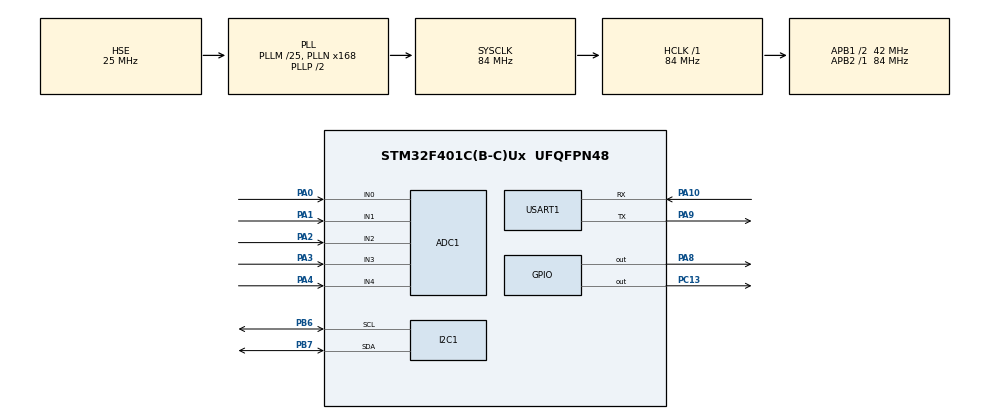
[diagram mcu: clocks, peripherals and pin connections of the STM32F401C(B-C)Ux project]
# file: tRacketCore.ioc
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ADC1.Channel-0\#ChannelRegularConversion=ADC_CHANNEL_0
ADC1.Channel-1\#ChannelRegularConversion=ADC_CHANNEL_1
ADC1.Channel-2\#ChannelRegularConversion=ADC_CHANNEL_2
ADC1.Channel-3\#ChannelRegularConversion=ADC_CHANNEL_3
ADC1.Channel-4\#ChannelRegularConversion=ADC_CHANNEL_4
ADC1.ContinuousConvMode=ENABLE
ADC1.NbrOfConversion=5
ADC1.NbrOfConversionFlag=1
ADC1.Rank-0\#ChannelRegularConversion=1
ADC1.Rank-1\#ChannelRegularConversion=2
ADC1.Rank-2\#ChannelRegularConversion=3
ADC1.Rank-3\#ChannelRegularConversion=4
ADC1.Rank-4\#ChannelRegularConversion=5
ADC1.SamplingTime-0\#ChannelRegularConversion=ADC_SAMPLETIME_3CYCLES
ADC1.SamplingTime-1\#ChannelRegularConversion=ADC_SAMPLETIME_3CYCLES
ADC1.SamplingTime-2\#ChannelRegularConversion=ADC_SAMPLETIME_3CYCLES
ADC1.SamplingTime-3\#ChannelRegularConversion=ADC_SAMPLETIME_3CYCLES
ADC1.SamplingTime-4\#ChannelRegularConversion=ADC_SAMPLETIME_3CYCLES
ADC1.ScanConvMode=ENABLE
ADC1.master=1
I2C1.I2C_Mode=I2C_Fast
Mcu.Family=STM32F4
Mcu.Name=STM32F401C(B-C)Ux
Mcu.Package=UFQFPN48
NVIC.PriorityGroup=NVIC_PRIORITYGROUP_4
PA0-WKUP.Signal=ADCx_IN0
PA1.Signal=ADCx_IN1
PA10.Mode=Asynchronous
PA10.Signal=USART1_RX
PA13.Mode=Serial_Wire
PA13.Signal=SYS_JTMS-SWDIO
PA14.Mode=Serial_Wire
PA14.Signal=SYS_JTCK-SWCLK
PA2.Signal=ADCx_IN2
PA3.Signal=ADCx_IN3
PA4.Signal=ADCx_IN4
PA8.Signal=GPIO_Output
PA9.Mode=Asynchronous
PA9.Signal=USART1_TX
PB6.GPIO_Pu=GPIO_PULLUP
PB6.Mode=I2C
PB6.Signal=I2C1_SCL
PB7.GPIO_Pu=GPIO_PULLUP
PB7.Mode=I2C
PB7.Signal=I2C1_SDA
PC13-ANTI_TAMP.Signal=GPIO_Output
PH0\ -\ OSC_IN.Mode=HSE-External-Oscillator
PH0\ -\ OSC_IN.Signal=RCC_OSC_IN
PH1\ -\ OSC_OUT.Mode=HSE-External-Oscillator
PH1\ -\ OSC_OUT.Signal=RCC_OSC_OUT
ProjectManager.HeapSize=0x200
ProjectManager.StackSize=0x400
ProjectManager.TargetToolchain=STM32CubeIDE
RCC.48MHZClocksFreq_Value=42000000
RCC.AHBFreq_Value=84000000
RCC.APB1CLKDivider=RCC_HCLK_DIV2
RCC.APB1Freq_Value=42000000
RCC.APB1TimFreq_Value=84000000
RCC.APB2Freq_Value=84000000
RCC.APB2TimFreq_Value=84000000
RCC.CortexFreq_Value=84000000
RCC.HCLKFreq_Value=84000000
RCC.HSE_VALUE=25000000
RCC.HSI_VALUE=16000000
RCC.LSE_VALUE=32768
RCC.PLLM=25
RCC.PLLN=168
RCC.PLLSourceVirtual=RCC_PLLSOURCE_HSE
RCC.SYSCLKFreq_VALUE=84000000
RCC.SYSCLKSource=RCC_SYSCLKSOURCE_PLLCLK
RCC.VCOOutputFreq_Value=168000000
SH.ADCx_IN0.0=ADC1_IN0,IN0
SH.ADCx_IN1.0=ADC1_IN1,IN1
SH.ADCx_IN2.0=ADC1_IN2,IN2
SH.ADCx_IN3.0=ADC1_IN3,IN3
SH.ADCx_IN4.0=ADC1_IN4,IN4
USART1.VirtualMode=VM_ASYNC
board=custom

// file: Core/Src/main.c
/* USER CODE BEGIN Header */
/**
  ******************************************************************************
  * @file           : main.c
  * @brief          : Main program body
  ******************************************************************************
  * @attention
  *
  * <h2><center>&copy; Copyright (c) 2020 STMicroelectronics.
  * All rights reserved.</center></h2>
  *
  * This software component is licensed by ST under BSD 3-Clause license,
  * the "License"; You may not use this file except in compliance with the
  * License. You may obtain a copy of the License at:
  *                        opensource.org/licenses/BSD-3-Clause
  *
  ******************************************************************************
  */
/* USER CODE END Header */
#include "main.h"
#include "adc.h"
#include "i2c.h"
#include "usart.h"
#include "gpio.h"

/* USER CODE BEGIN Includes */
#include "mpu6050.h"
#include "string.h"
#include <stdio.h>
#include "math.h"
/* USER CODE END Includes */

/* USER CODE BEGIN PV */
MPU6050_t MPU6050;
const float calibPiezo[5] = {0.75,0.5,1.2,1.0,1.0};
const int xHitCoords[5] = {-1,1,0,-1,1};
const int yHitCoords[5] = {1,1,0,-1,-1};
/* USER CODE END PV */

void SystemClock_Config(void);

/* USER CODE BEGIN 0 */

void ADC_Select_CH(int ch){
	ADC_ChannelConfTypeDef sConfig = {0};
	uint32_t channel;
	switch(ch){
	case 0:
		channel = ADC_CHANNEL_0;
		break;
	case 1:
		channel = ADC_CHANNEL_1;
		break;
	case 2:
		channel = ADC_CHANNEL_2;
		break;
	case 3:
		channel = ADC_CHANNEL_3;
		break;
	case 4:
		channel = ADC_CHANNEL_4;
		break;
	default:
		return;
		break;
	}
	sConfig.Channel = channel;
	sConfig.Rank = 1;
	sConfig.SamplingTime = ADC_SAMPLETIME_3CYCLES;
	if (HAL_ADC_ConfigChannel(&hadc1, &sConfig) != HAL_OK)
	{
	Error_Handler();
	}
}

uint16_t ADC_Read(int ch){
	uint16_t AD_VAL;
	ADC_Select_CH(ch);
	HAL_ADC_Start(&hadc1);
	HAL_ADC_PollForConversion(&hadc1, 1);
	AD_VAL = HAL_ADC_GetValue(&hadc1);
	HAL_ADC_Stop(&hadc1);
	return AD_VAL*calibPiezo[ch];
}
/* USER CODE END 0 */

int main(void)
{

  /* MCU Configuration--------------------------------------------------------*/

  /* Reset of all peripherals, Initializes the Flash interface and the Systick. */
  HAL_Init();

  /* Configure the system clock */
  SystemClock_Config();

  /* Initialize all configured peripherals */
  MX_GPIO_Init();
  MX_I2C1_Init();
  MX_USART1_UART_Init();
  MX_ADC1_Init();
  HAL_GPIO_WritePin(GPIOC, GPIO_PIN_13, 1);
  HAL_Delay(50);
  HAL_GPIO_WritePin(GPIOC, GPIO_PIN_13, 0);
  HAL_Delay(50);
  /* USER CODE BEGIN 2 */
  while (MPU6050_Init(&hi2c1) == 1);
  HAL_GPIO_WritePin(GPIOC, GPIO_PIN_13, 1);
  HAL_Delay(100);
  HAL_GPIO_WritePin(GPIOC, GPIO_PIN_13, 0);
  HAL_GPIO_WritePin(GPIOA, GPIO_PIN_8, 1);
  HAL_Delay(100);
  HAL_GPIO_WritePin(GPIOA, GPIO_PIN_8, 0);
  /* USER CODE END 2 */
  uint16_t piezoWindowBuf [5][250] = {0};
  uint16_t maxs [5] = {0};
  uint16_t absMax;
  float xHitLoc,yHitLoc;
  float weights[5] = {0.0};
  int triggerdIterator =0;
  /* Infinite loop */
  /* USER CODE BEGIN WHILE */
  while (1)
  {
	  uint16_t AD_RES = 0;
	  char adcval[128];
    //Constant reading of the 5 piezo discs and a rolling window in the first half of the buffer
    //The most recent reading is in the middle of the buffer
	  if(triggerdIterator == 0){
		  for(int i=0;i<5;i++){
			  for(int j = 0; j<124; j++){
				  piezoWindowBuf[i][j] = piezoWindowBuf[i][j+1];
			  }
			  piezoWindowBuf[i][124] = ADC_Read(i);
        //Detect a ball hit if any of the sensors pass the threshold
			  if(piezoWindowBuf[i][124] > 1500){
				  HAL_Delay(1);  //Wait for a millisecond and check again to ignore spikes
				  if(ADC_Read(i)> 1500){
					  triggerdIterator =125;
				  }
			  }
		  }
      //If a hit is detected, fill the rest of the window
	  }else if(triggerdIterator < 250){
		  for(int i=0;i<5;i++){
			  piezoWindowBuf[i][triggerdIterator] = ADC_Read(i);
		  }
		  triggerdIterator++;
	  }
    //When the rest of the buffer is filled, calculate and send the data
    else{
		  triggerdIterator =0;
//		  for(int i =0;i<250;i++){
//			  for(int j=0;j<5;j++){
//	  				sprintf(adcval,"%d",piezoWindowBuf[j][i]);
//	  				HAL_UART_Transmit(&huart1, (uint8_t *) adcval , strlen(adcval), HAL_MAX_DELAY);
//	  				HAL_UART_Transmit(&huart1, (uint8_t *) "\t" , 1, HAL_MAX_DELAY);
//			  }
//			  HAL_UART_Transmit(&huart1, (uint8_t *) "\r\n" , 2, HAL_MAX_DELAY);
//		  			  }

//Determines the maximum value in each buffer
		  for(int i=0;i<5;i++){
			  for(int j=0;j<250;j++){
				  if (piezoWindowBuf[i][j]>maxs[i]){
					  maxs[i] = piezoWindowBuf[i][j];
				  }
			  }

		  }
// Determine the absolute maximum of the 5 sensors
		  absMax = 0;
		  for(int k=0;k<5;k++){
			  if(maxs[k]>absMax){
				  absMax = maxs[k];
			  }
		  }
//Normalize and calculate the location
		  for(int k=0;k<5;k++){
				  weights[k] = (float) maxs[k]/absMax;
				  xHitLoc += weights[k]*xHitCoords[k];
				  yHitLoc += weights[k]*yHitCoords[k];
		  }
		  	HAL_Delay(5);
		  	MPU6050_Read_All(&hi2c1, &MPU6050);

      //send the data
			sprintf(adcval,"%f",xHitLoc);
			HAL_UART_Transmit(&huart1, (uint8_t *) adcval , strlen(adcval), HAL_MAX_DELAY);
			HAL_UART_Transmit(&huart1, (uint8_t *) "," , 1, HAL_MAX_DELAY);
			sprintf(adcval,"%f",yHitLoc);
			HAL_UART_Transmit(&huart1, (uint8_t *) adcval , strlen(adcval), HAL_MAX_DELAY);
			HAL_UART_Transmit(&huart1, (uint8_t *) "," , 1, HAL_MAX_DELAY);
			sprintf(adcval,"%f",MPU6050.KalmanAngleX);
			HAL_UART_Transmit(&huart1, (uint8_t *) adcval , strlen(adcval), HAL_MAX_DELAY);
			HAL_UART_Transmit(&huart1, (uint8_t *) "," , 1, HAL_MAX_DELAY);
			sprintf(adcval,"%f",MPU6050.KalmanAngleY);
			HAL_UART_Transmit(&huart1, (uint8_t *) adcval , strlen(adcval), HAL_MAX_DELAY);
			HAL_UART_Transmit(&huart1, (uint8_t *) "," , 1, HAL_MAX_DELAY);
			float force = fabs(sqrt(pow(MPU6050.Ax,2)+pow(MPU6050.Ay,2)+pow(MPU6050.Az,2))-1)*9.8*0.0027;
			sprintf(adcval,"%f",force);
			HAL_UART_Transmit(&huart1, (uint8_t *) adcval , strlen(adcval), HAL_MAX_DELAY);
      //Training example test
			if(force>0.015){
				  HAL_GPIO_WritePin(GPIOA, GPIO_PIN_8, 1);
				  HAL_Delay(50);
				  HAL_GPIO_WritePin(GPIOA, GPIO_PIN_8, 0);
			}
      //Reset all values
		  for(int i =0;i<5;i++){
//		  sprintf(adcval,"%f",weights[i]);
//			HAL_UART_Transmit(&huart1, (uint8_t *) adcval , strlen(adcval), HAL_MAX_DELAY);
//			HAL_UART_Transmit(&huart1, (uint8_t *) "\t" , 1, HAL_MAX_DELAY);
			maxs[i] = 0;
			weights[i] = 0;
			xHitLoc = 0;
			yHitLoc = 0;
	  }
		  HAL_UART_Transmit(&huart1, (uint8_t *) "\r\n" , 2, HAL_MAX_DELAY);

	  }
//	  HAL_UART_Transmit(&huart1, (uint8_t *) "\r\n" , 2, HAL_MAX_DELAY);
//      HAL_GPIO_TogglePin(GPIOA, GPIO_PIN_8);
//      sprintf(adcval,"%d",AD_RES);
//      HAL_UART_Transmit(&huart1, (uint8_t *) adcval , strlen(adcval), HAL_MAX_DELAY);
//      HAL_UART_Transmit(&huart1, (uint8_t *) "\r\n" , 2, HAL_MAX_DELAY);
//	  char angleStr[128];
//	  sprintf(angleStr,"%f",MPU6050.Ax*9.80665);
//	  HAL_UART_Transmit(&huart1, (uint8_t *) angleStr , strlen(angleStr), HAL_MAX_DELAY);
//	  HAL_UART_Transmit(&huart1, (uint8_t *) "\t" , 1, HAL_MAX_DELAY);
//	  sprintf(angleStr,"%f",MPU6050.Ay*9.80665);
//	  HAL_UART_Transmit(&huart1, (uint8_t *) angleStr , strlen(angleStr), HAL_MAX_DELAY);
//	  HAL_UART_Transmit(&huart1, (uint8_t *) "\t" , 1, HAL_MAX_DELAY);
//	  sprintf(angleStr,"%f",MPU6050.Az*9.80665);
//	  HAL_UART_Transmit(&huart1, (uint8_t *) angleStr , strlen(angleStr), HAL_MAX_DELAY);
//	  HAL_UART_Transmit(&huart1, (uint8_t *) "\r\n" , 2, HAL_MAX_DELAY);
//	  if(MPU6050.KalmanAngleX > 30){
//		  HAL_GPIO_WritePin(GPIOC, GPIO_PIN_13, 1);
//	  }else{
//		  HAL_GPIO_WritePin(GPIOC, GPIO_PIN_13, 0);
//	  }
//	  HAL_Delay (20);
    /* USER CODE END WHILE */

  }
}

void SystemClock_Config(void)
{
  RCC_OscInitTypeDef RCC_OscInitStruct = {0};
  RCC_ClkInitTypeDef RCC_ClkInitStruct = {0};

  /** Configure the main internal regulator output voltage
  */
  __HAL_RCC_PWR_CLK_ENABLE();
  __HAL_PWR_VOLTAGESCALING_CONFIG(PWR_REGULATOR_VOLTAGE_SCALE2);

  /** Initializes the RCC Oscillators according to the specified parameters
  * in the RCC_OscInitTypeDef structure.
  */
  RCC_OscInitStruct.OscillatorType = RCC_OSCILLATORTYPE_HSE;
  RCC_OscInitStruct.HSEState = RCC_HSE_ON;
  RCC_OscInitStruct.PLL.PLLState = RCC_PLL_ON;
  RCC_OscInitStruct.PLL.PLLSource = RCC_PLLSOURCE_HSE;
  RCC_OscInitStruct.PLL.PLLM = 25;
  RCC_OscInitStruct.PLL.PLLN = 168;
  RCC_OscInitStruct.PLL.PLLP = RCC_PLLP_DIV2;
  RCC_OscInitStruct.PLL.PLLQ = 4;
  if (HAL_RCC_OscConfig(&RCC_OscInitStruct) != HAL_OK)
  {
    Error_Handler();
  }

  /** Initializes the CPU, AHB and APB buses clocks
  */
  RCC_ClkInitStruct.ClockType = RCC_CLOCKTYPE_HCLK|RCC_CLOCKTYPE_SYSCLK
                              |RCC_CLOCKTYPE_PCLK1|RCC_CLOCKTYPE_PCLK2;
  RCC_ClkInitStruct.SYSCLKSource = RCC_SYSCLKSOURCE_PLLCLK;
  RCC_ClkInitStruct.AHBCLKDivider = RCC_SYSCLK_DIV1;
  RCC_ClkInitStruct.APB1CLKDivider = RCC_HCLK_DIV2;
  RCC_ClkInitStruct.APB2CLKDivider = RCC_HCLK_DIV1;

  if (HAL_RCC_ClockConfig(&RCC_ClkInitStruct, FLASH_LATENCY_2) != HAL_OK)
  {
    Error_Handler();
  }
}

void Error_Handler(void)
{
}
